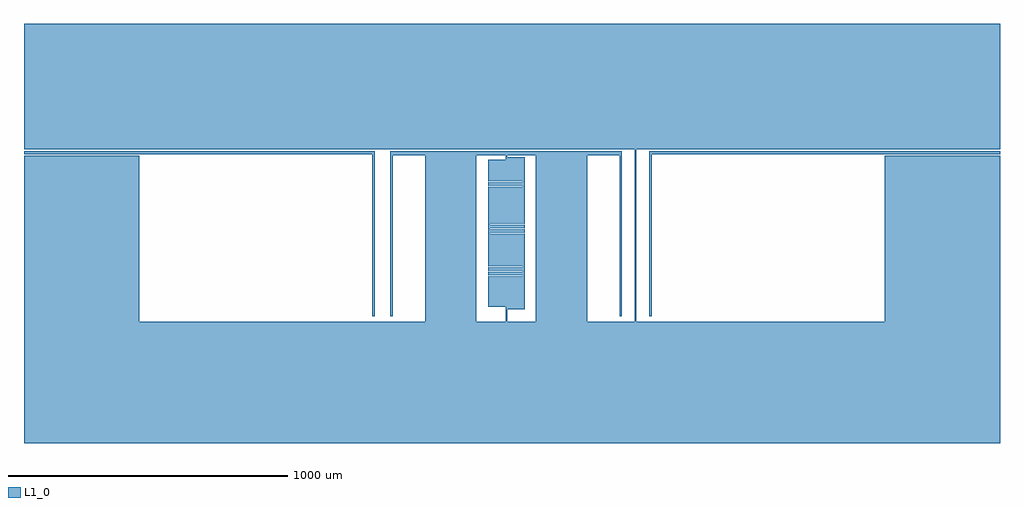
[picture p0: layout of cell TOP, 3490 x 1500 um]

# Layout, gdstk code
import gdstk
lib = gdstk.Library(unit=1e-6, precision=1e-09)
def R(c, l, rs):  # rectangles x0, y0, x1, y1
    for r in rs: c.add(gdstk.rectangle(r[:2], r[2:], *l))
def P(c, l, *ps):  # polygons
    for p in ps: c.add(gdstk.Polygon(p, *l))
L1_0 = (1, 0)

t3_t2_coil = lib.new_cell('T3_T2_COIL')
P(t3_t2_coil, L1_0, [(68,46),(130,46),(130,60),(6,60),(6,62),(130,62),(130,76),(6,76),(6,78),(130,78),(130,92),(6,92),(6,94),(130,94),(130,108),(6,108),(6,110),(130,110),(130,124),(6,124),(6,126),(130,126),(130,140),(6,140),(6,142),(130,142),(130,156),(6,156),(6,158),(130,158),(130,172),(6,172),(6,174),(130,174),(130,188),(6,188),(6,190),(130,190),(130,204),(6,204),(6,206),(130,206),(130,220),(6,220),(6,222),(130,222),(130,236),(6,236),(6,238),(130,238),(130,252),(6,252),(6,254),(130,254),(130,268),(6,268),(6,270),(130,270),(130,284),(6,284),(6,286),(130,286),(130,300),(6,300),(6,302),(130,302),(130,316),(6,316),(6,318),(0,318),(0,310),(124,310),(124,308),(0,308),(0,294),(124,294),(124,292),(0,292),(0,278),(124,278),(124,276),(0,276),(0,262),(124,262),(124,260),(0,260),(0,246),(124,246),(124,244),(0,244),(0,230),(124,230),(124,228),(0,228),(0,214),(124,214),(124,212),(0,212),(0,198),(124,198),(124,196),(0,196),(0,182),(124,182),(124,180),(0,180),(0,166),(124,166),(124,164),(0,164),(0,150),(124,150),(124,148),(0,148),(0,134),(124,134),(124,132),(0,132),(0,118),(124,118),(124,116),(0,116),(0,102),(124,102),(124,100),(0,100),(0,86),(124,86),(124,84),(0,84),(0,70),(124,70),(124,68),(0,68),(0,54),(124,54),(124,52),(62,52),(62,0),(68,0)],
  [(130,332),(6,332),(6,334),(130,334),(130,348),(6,348),(6,350),(130,350),(130,364),(6,364),(6,366),(130,366),(130,380),(6,380),(6,382),(130,382),(130,396),(6,396),(6,398),(130,398),(130,412),(6,412),(6,414),(130,414),(130,428),(6,428),(6,430),(130,430),(130,444),(6,444),(6,446),(130,446),(130,460),(6,460),(6,462),(130,462),(130,476),(6,476),(6,478),(130,478),(130,492),(6,492),(6,494),(130,494),(130,508),(6,508),(6,510),(130,510),(130,524),(6,524),(6,526),(130,526),(130,540),(6,540),(6,542),(130,542),(130,556),(6,556),(6,558),(130,558),(130,572),(6,572),(6,574),(130,574),(130,588),(68,588),(68,596),(62,596),(62,582),(124,582),(124,580),(0,580),(0,566),(124,566),(124,564),(0,564),(0,550),(124,550),(124,548),(0,548),(0,534),(124,534),(124,532),(0,532),(0,518),(124,518),(124,516),(0,516),(0,502),(124,502),(124,500),(0,500),(0,486),(124,486),(124,484),(0,484),(0,470),(124,470),(124,468),(0,468),(0,454),(124,454),(124,452),(0,452),(0,438),(124,438),(124,436),(0,436),(0,422),(124,422),(124,420),(0,420),(0,406),(124,406),(124,404),(0,404),(0,390),(124,390),(124,388),(0,388),(0,374),(124,374),(124,372),(0,372),(0,358),(124,358),(124,356),(0,356),(0,342),(124,342),(124,340),(0,340),(0,326),(124,326),(124,324),(0,324),(0,318),(130,318)])

t3_t2_pad = lib.new_cell('T3_T2_PAD')
R(t3_t2_pad, L1_0, [(0,0,184,594)])

t3_body = lib.new_cell('T3_BODY')
P(t3_body, L1_0, [(-414,-598),(-406,-598),(-406,-22),(406,-22),(406,-598),(414,-598),(414,-8),(-414,-8)])
t3_body.add(gdstk.Reference(t3_t2_coil, (-64,-618)))
t3_body.add(gdstk.Reference(t3_t2_pad, (-290,-618)))
t3_body.add(gdstk.Reference(t3_t2_pad, (106,-618)))

top = lib.new_cell('TOP')
P(top, L1_0, [(1254,-8),(0,-8),(0,-18),(1246,-18),(1246,-598),(1254,-598)],
  [(2244,-18),(3490,-18),(3490,-8),(2236,-8),(2236,-598),(2244,-598)],
  [(3490,0),(3490,448),(0,448),(0,0),(2184,0),(2184,-618),(412,-618),(412,-24),(0,-24),(0,-1052),(3490,-1052),(3490,-24),(3078,-24),(3078,-618),(2190,-618),(2190,0)])
top.add(gdstk.Reference(t3_body, (1724,0)))

lib.write_gds('TOP.gds')
